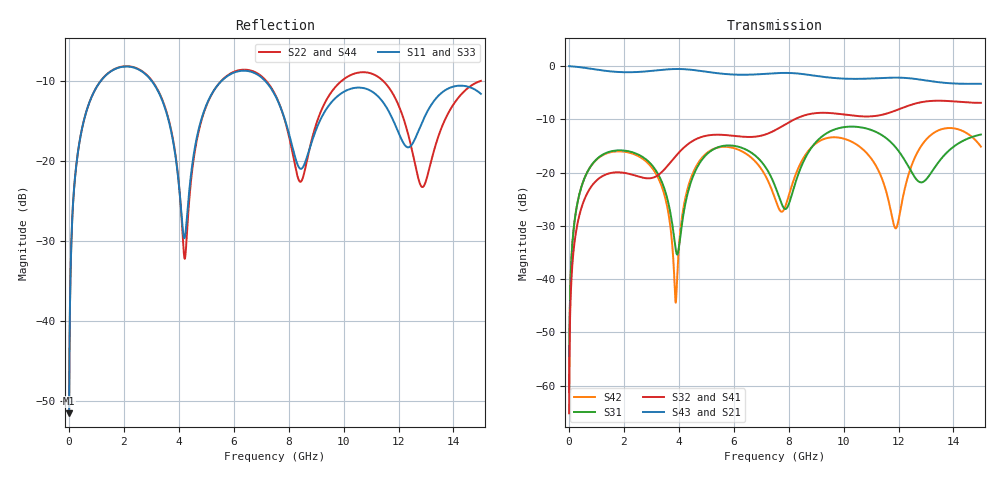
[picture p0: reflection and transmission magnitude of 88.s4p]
! Created with skrf 1.8.0 (http://scikit-rf.org).
# GHz S RI R 50.0
!freq ReS11 ImS11 ReS12 ImS12 ReS13 ImS13
! ReS14 ImS14
! ReS21 ImS21 ReS22 ImS22 ReS23 ImS23
! ReS24 ImS24
! ReS31 ImS31 ReS32 ImS32 ReS33 ImS33
! ReS34 ImS34
! ReS41 ImS41 ReS42 ImS42 ReS43 ImS43
! ReS44 ImS44
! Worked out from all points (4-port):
!   2499 points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, 5 MHz to 15 GHz, reference 50 ohm
!   strongest paths, dB at 5 MHz, 3.476 GHz, 7.19 GHz, 11.1 GHz, 15 GHz:
!     S43: 0.0, -0.7, -1.4, -2.3, -3.3
!     S21: 0.0, -0.7, -1.5, -2.3, -3.3
!     S32: -65.2, -19.4, -12.8, -9.4, -6.9
!     S41: -65.2, -19.4, -12.8, -9.4, -6.9
!     S31: -61.2, -23.1, -19.2, -12.2, -12.8
!     S42: -61.2, -24.2, -21.0, -18.0, -15.1
!   lowest |S11| = -51.5 dB at 5 MHz (marker M1), VSWR 1.01, Z = 50.2 + j0.162 ohm
!   |S11| at or under -10 dB: start of sweep to 1.154 GHz; 3.017 GHz to 5.549 GHz (2.532 GHz wide, 59.1 % of centre); 7.151 GHz to end of sweep
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0.005  0.00213 0.00161  0.9978 -0.00413  0.000109 0.000863  -0.000106 -0.000539
       0.9978 -0.00413  0.00213 0.00161  -0.000106 -0.000539  0.000109 0.000863
       0.000109 0.000863  -0.000106 -0.000539  0.00213 0.00161  0.9978 -0.00413
       -0.000106 -0.000539  0.000109 0.000863  0.9978 -0.00413  0.00213 0.00161
0.2626094  0.0286 0.0886  0.961 -0.2158  0.0136 0.0425  -0.0111 -0.0261
           0.961 -0.2158  0.0287 0.0886  -0.0111 -0.0261  0.0131 0.0427
           0.0136 0.0425  -0.0111 -0.0261  0.0287 0.0886  0.961 -0.2158
           -0.0111 -0.0261  0.0131 0.0427  0.961 -0.2158  0.0287 0.0886
1.269279  0.2878 0.169  0.5072 -0.7509  0.1396 0.053  -0.0941 0.000916
          0.5072 -0.7509  0.2897 0.1676  -0.0941 0.000919  0.1343 0.0609
          0.1396 0.053  -0.0941 0.000919  0.2877 0.169  0.5072 -0.7509
          -0.0941 0.000916  0.1343 0.0609  0.5072 -0.7509  0.2896 0.1676
4.164235  0.033 -0.0117  -0.9305 -0.1001  -0.00808 0.0393  -0.014 0.1691
          -0.9305 -0.1001  0.0245 -0.0165  -0.0139 0.1691  0.012 0.0443
          -0.00808 0.0393  -0.0139 0.1691  0.033 -0.0114  -0.9305 -0.1002
          -0.014 0.1691  0.012 0.0443  -0.9305 -0.1002  0.0243 -0.0162
8.397249  0.0885 -0.0185  0.8329 0.1592  -0.00303 0.104  0.0565 -0.3277
          0.8329 0.1592  0.0736 -0.0136  0.0554 -0.3272  -0.0255 0.1142
          -0.00303 0.104  0.0554 -0.3272  0.0932 -0.0141  0.833 0.1592
          0.0565 -0.3277  -0.0255 0.1142  0.833 0.1592  0.0674 -0.0106
11.18591  0.2532 -0.0612  -0.1375 -0.7559  0.087 -0.2241  -0.323 0.112
          -0.1375 -0.7559  0.3167 -0.129  -0.3224 0.1106  0.1078 -0.0401
          0.087 -0.2241  -0.3224 0.1106  0.254 -0.0675  -0.1345 -0.7562
          -0.323 0.112  0.1078 -0.0401  -0.1345 -0.7562  0.3197 -0.1211
15  0.2572 -0.0563  -0.1403 0.6675  0.1037 -0.2028  0.4503 0.031
    -0.1403 0.6675  0.3164 0.0241  0.4506 0.0309  0.1625 -0.0662
    0.1037 -0.2028  0.4506 0.0309  0.2595 -0.0531  -0.146 0.6659
    0.4503 0.031  0.1625 -0.0662  -0.146 0.6659  0.318 0.0259
